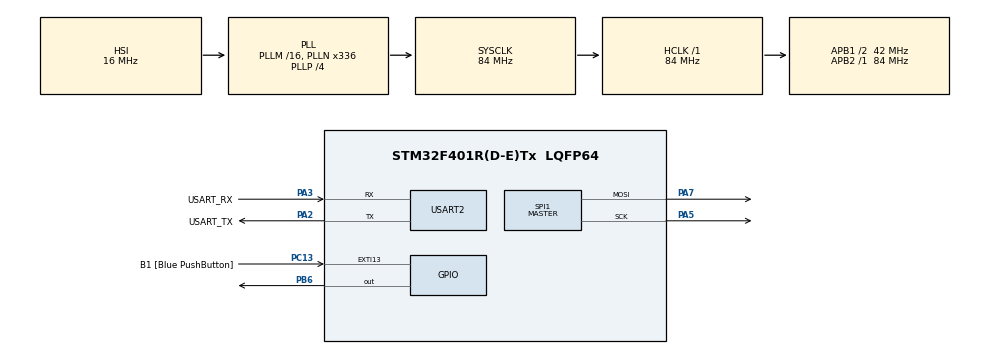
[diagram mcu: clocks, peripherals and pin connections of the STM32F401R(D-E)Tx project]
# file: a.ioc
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Mcu.Family=STM32F4
Mcu.Name=STM32F401R(D-E)Tx
Mcu.Package=LQFP64
NVIC.PriorityGroup=NVIC_PRIORITYGROUP_0
NVIC.TIM2_IRQn=true\:0\:0\:false\:false\:true\:true\:true\:true
PA13.GPIO_Label=TMS
PA13.Mode=Serial_Wire
PA13.Signal=SYS_JTMS-SWDIO
PA14.GPIO_Label=TCK
PA14.Mode=Serial_Wire
PA14.Signal=SYS_JTCK-SWCLK
PA2.GPIO_Label=USART_TX
PA2.GPIO_Mode=GPIO_MODE_AF_PP
PA2.GPIO_PuPd=GPIO_NOPULL
PA2.GPIO_Speed=GPIO_SPEED_FREQ_LOW
PA2.Mode=Asynchronous
PA2.Signal=USART2_TX
PA3.GPIO_Label=USART_RX
PA3.GPIO_Mode=GPIO_MODE_AF_PP
PA3.GPIO_PuPd=GPIO_NOPULL
PA3.GPIO_Speed=GPIO_SPEED_FREQ_LOW
PA3.Mode=Asynchronous
PA3.Signal=USART2_RX
PA5.Mode=TX_Only_Simplex_Unidirect_Master
PA5.Signal=SPI1_SCK
PA7.Mode=TX_Only_Simplex_Unidirect_Master
PA7.Signal=SPI1_MOSI
PB3.GPIO_Label=SWO
PB3.Signal=SYS_JTDO-SWO
PB6.Signal=GPIO_Output
PC13-ANTI_TAMP.GPIO_Label=B1 [Blue PushButton]
PC13-ANTI_TAMP.GPIO_ModeDefaultEXTI=GPIO_MODE_IT_FALLING
PC13-ANTI_TAMP.GPIO_PuPd=GPIO_NOPULL
PC13-ANTI_TAMP.Signal=GPXTI13
PC14-OSC32_IN.Mode=LSE-External-Oscillator
PC14-OSC32_IN.Signal=RCC_OSC32_IN
PC15-OSC32_OUT.Mode=LSE-External-Oscillator
PC15-OSC32_OUT.Signal=RCC_OSC32_OUT
PH0\ -\ OSC_IN.Mode=HSE-External-Clock-Source
PH0\ -\ OSC_IN.Signal=RCC_OSC_IN
PH1\ -\ OSC_OUT.Mode=HSE-External-Clock-Source
PH1\ -\ OSC_OUT.Signal=RCC_OSC_OUT
ProjectManager.HeapSize=0x200
ProjectManager.StackSize=0x400
ProjectManager.TargetToolchain=STM32CubeIDE
RCC.48MHZClocksFreq_Value=48000000
RCC.AHBFreq_Value=84000000
RCC.APB1CLKDivider=RCC_HCLK_DIV2
RCC.APB1Freq_Value=42000000
RCC.APB1TimFreq_Value=84000000
RCC.APB2Freq_Value=84000000
RCC.APB2TimFreq_Value=84000000
RCC.CortexFreq_Value=84000000
RCC.HCLKFreq_Value=84000000
RCC.HSE_VALUE=8000000
RCC.HSI_VALUE=16000000
RCC.PLLN=336
RCC.PLLP=RCC_PLLP_DIV4
RCC.PLLQ=7
RCC.SYSCLKFreq_VALUE=84000000
RCC.SYSCLKSource=RCC_SYSCLKSOURCE_PLLCLK
RCC.VCOOutputFreq_Value=336000000
SPI1.BaudRatePrescaler=SPI_BAUDRATEPRESCALER_4
SPI1.Direction=SPI_DIRECTION_2LINES
SPI1.Mode=SPI_MODE_MASTER
SPI1.VirtualType=VM_MASTER
TIM2.Period=40-1
TIM2.Prescaler=8400-1
USART2.VirtualMode=VM_ASYNC
VP_TIM2_VS_ClockSourceINT.Mode=Internal
board=NUCLEO-F401RE

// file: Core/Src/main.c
/* USER CODE BEGIN Header */
/**
  ******************************************************************************
  * @file           : main.c
  * @brief          : Main program body
  ******************************************************************************
  * @attention
  *
  * Copyright (c) 2023 STMicroelectronics.
  * All rights reserved.
  *
  * This software is licensed under terms that can be found in the LICENSE file
  * in the root directory of this software component.
  * If no LICENSE file comes with this software, it is provided AS-IS.
  *
  ******************************************************************************
  */
/* USER CODE END Header */
#include "main.h"

/* USER CODE BEGIN PD */
#define RCLK_PIN GPIOB,GPIO_PIN_6
/* USER CODE END PD */

SPI_HandleTypeDef hspi1;

TIM_HandleTypeDef htim2;

UART_HandleTypeDef huart2;

/* USER CODE BEGIN PV */

int column_index = 0;

uint8_t matrix[5][2] = {	// {row, col}, where row is content, col is address
		{31, 16},
		{36, 8},
		{68, 4},
		{36, 2},
		{31, 1}
};

/* USER CODE END PV */

void SystemClock_Config(void);
static void MX_GPIO_Init(void);
static void MX_USART2_UART_Init(void);
static void MX_SPI1_Init(void);
static void MX_TIM2_Init(void);

int main(void)
{

  /* MCU Configuration--------------------------------------------------------*/

  /* Reset of all peripherals, Initializes the Flash interface and the Systick. */
  HAL_Init();

  /* Configure the system clock */
  SystemClock_Config();

  /* Initialize all configured peripherals */
  MX_GPIO_Init();
  MX_USART2_UART_Init();
  MX_SPI1_Init();
  MX_TIM2_Init();
  /* USER CODE BEGIN 2 */
  HAL_TIM_Base_Start_IT(&htim2);
  /* USER CODE END 2 */

  /* Infinite loop */
  while (1)
  {

  }
}

void SystemClock_Config(void)
{
  RCC_OscInitTypeDef RCC_OscInitStruct = {0};
  RCC_ClkInitTypeDef RCC_ClkInitStruct = {0};

  /** Configure the main internal regulator output voltage
  */
  __HAL_RCC_PWR_CLK_ENABLE();
  __HAL_PWR_VOLTAGESCALING_CONFIG(PWR_REGULATOR_VOLTAGE_SCALE2);

  /** Initializes the RCC Oscillators according to the specified parameters
  * in the RCC_OscInitTypeDef structure.
  */
  RCC_OscInitStruct.OscillatorType = RCC_OSCILLATORTYPE_HSI;
  RCC_OscInitStruct.HSIState = RCC_HSI_ON;
  RCC_OscInitStruct.HSICalibrationValue = RCC_HSICALIBRATION_DEFAULT;
  RCC_OscInitStruct.PLL.PLLState = RCC_PLL_ON;
  RCC_OscInitStruct.PLL.PLLSource = RCC_PLLSOURCE_HSI;
  RCC_OscInitStruct.PLL.PLLM = 16;
  RCC_OscInitStruct.PLL.PLLN = 336;
  RCC_OscInitStruct.PLL.PLLP = RCC_PLLP_DIV4;
  RCC_OscInitStruct.PLL.PLLQ = 7;
  if (HAL_RCC_OscConfig(&RCC_OscInitStruct) != HAL_OK)
  {
    Error_Handler();
  }

  /** Initializes the CPU, AHB and APB buses clocks
  */
  RCC_ClkInitStruct.ClockType = RCC_CLOCKTYPE_HCLK|RCC_CLOCKTYPE_SYSCLK
                              |RCC_CLOCKTYPE_PCLK1|RCC_CLOCKTYPE_PCLK2;
  RCC_ClkInitStruct.SYSCLKSource = RCC_SYSCLKSOURCE_PLLCLK;
  RCC_ClkInitStruct.AHBCLKDivider = RCC_SYSCLK_DIV1;
  RCC_ClkInitStruct.APB1CLKDivider = RCC_HCLK_DIV2;
  RCC_ClkInitStruct.APB2CLKDivider = RCC_HCLK_DIV1;

  if (HAL_RCC_ClockConfig(&RCC_ClkInitStruct, FLASH_LATENCY_2) != HAL_OK)
  {
    Error_Handler();
  }
}

static void MX_SPI1_Init(void)
{

  /* SPI1 parameter configuration*/
  hspi1.Instance = SPI1;
  hspi1.Init.Mode = SPI_MODE_MASTER;
  hspi1.Init.Direction = SPI_DIRECTION_2LINES;
  hspi1.Init.DataSize = SPI_DATASIZE_8BIT;
  hspi1.Init.CLKPolarity = SPI_POLARITY_LOW;
  hspi1.Init.CLKPhase = SPI_PHASE_1EDGE;
  hspi1.Init.NSS = SPI_NSS_SOFT;
  hspi1.Init.BaudRatePrescaler = SPI_BAUDRATEPRESCALER_4;
  hspi1.Init.FirstBit = SPI_FIRSTBIT_MSB;
  hspi1.Init.TIMode = SPI_TIMODE_DISABLE;
  hspi1.Init.CRCCalculation = SPI_CRCCALCULATION_DISABLE;
  hspi1.Init.CRCPolynomial = 10;
  if (HAL_SPI_Init(&hspi1) != HAL_OK)
  {
    Error_Handler();
  }

}

static void MX_TIM2_Init(void)
{

  TIM_ClockConfigTypeDef sClockSourceConfig = {0};
  TIM_MasterConfigTypeDef sMasterConfig = {0};

  htim2.Instance = TIM2;
  htim2.Init.Prescaler = 8400-1;
  htim2.Init.CounterMode = TIM_COUNTERMODE_UP;
  htim2.Init.Period = 40-1;
  htim2.Init.ClockDivision = TIM_CLOCKDIVISION_DIV1;
  htim2.Init.AutoReloadPreload = TIM_AUTORELOAD_PRELOAD_DISABLE;
  if (HAL_TIM_Base_Init(&htim2) != HAL_OK)
  {
    Error_Handler();
  }
  sClockSourceConfig.ClockSource = TIM_CLOCKSOURCE_INTERNAL;
  if (HAL_TIM_ConfigClockSource(&htim2, &sClockSourceConfig) != HAL_OK)
  {
    Error_Handler();
  }
  sMasterConfig.MasterOutputTrigger = TIM_TRGO_RESET;
  sMasterConfig.MasterSlaveMode = TIM_MASTERSLAVEMODE_DISABLE;
  if (HAL_TIMEx_MasterConfigSynchronization(&htim2, &sMasterConfig) != HAL_OK)
  {
    Error_Handler();
  }

}

static void MX_USART2_UART_Init(void)
{

  huart2.Instance = USART2;
  huart2.Init.BaudRate = 115200;
  huart2.Init.WordLength = UART_WORDLENGTH_8B;
  huart2.Init.StopBits = UART_STOPBITS_1;
  huart2.Init.Parity = UART_PARITY_NONE;
  huart2.Init.Mode = UART_MODE_TX_RX;
  huart2.Init.HwFlowCtl = UART_HWCONTROL_NONE;
  huart2.Init.OverSampling = UART_OVERSAMPLING_16;
  if (HAL_UART_Init(&huart2) != HAL_OK)
  {
    Error_Handler();
  }

}

static void MX_GPIO_Init(void)
{
  GPIO_InitTypeDef GPIO_InitStruct = {0};

  /* GPIO Ports Clock Enable */
  __HAL_RCC_GPIOC_CLK_ENABLE();
  __HAL_RCC_GPIOH_CLK_ENABLE();
  __HAL_RCC_GPIOA_CLK_ENABLE();
  __HAL_RCC_GPIOB_CLK_ENABLE();

  /*Configure GPIO pin Output Level */
  HAL_GPIO_WritePin(GPIOB, GPIO_PIN_6, GPIO_PIN_RESET);

  /*Configure GPIO pin : B1_Pin */
  GPIO_InitStruct.Pin = B1_Pin;
  GPIO_InitStruct.Mode = GPIO_MODE_IT_FALLING;
  GPIO_InitStruct.Pull = GPIO_NOPULL;
  HAL_GPIO_Init(B1_GPIO_Port, &GPIO_InitStruct);

  /*Configure GPIO pin : PB6 */
  GPIO_InitStruct.Pin = GPIO_PIN_6;
  GPIO_InitStruct.Mode = GPIO_MODE_OUTPUT_PP;
  GPIO_InitStruct.Pull = GPIO_NOPULL;
  GPIO_InitStruct.Speed = GPIO_SPEED_FREQ_LOW;
  HAL_GPIO_Init(GPIOB, &GPIO_InitStruct);

}

/* USER CODE BEGIN 4 */
void HAL_TIM_PeriodElapsedCallback(TIM_HandleTypeDef *htim)
{
	if(htim == &htim2)
	{
		HAL_SPI_Transmit(&hspi1, matrix[column_index], 2, HAL_MAX_DELAY);
		HAL_GPIO_WritePin(RCLK_PIN, GPIO_PIN_SET);
		if(++column_index > 4)
			column_index = 0;
		HAL_GPIO_WritePin(RCLK_PIN, GPIO_PIN_RESET);
	}
}
/* USER CODE END 4 */

void Error_Handler(void)
{
  __disable_irq();
  while (1)
  {
  }
}
